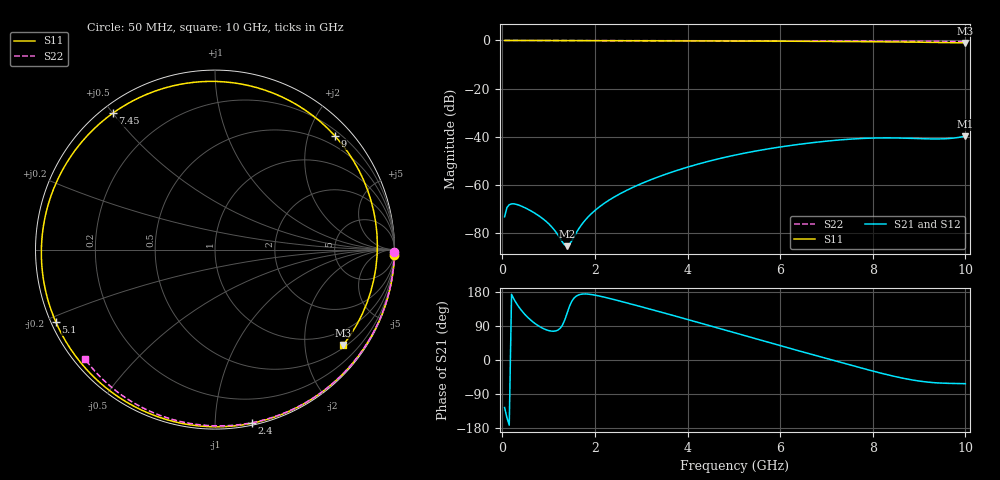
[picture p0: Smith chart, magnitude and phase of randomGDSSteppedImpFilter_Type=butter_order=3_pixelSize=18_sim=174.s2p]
! freq	dB(S11)	phase(S11)	dB(S12)	phase(S12)
!  dB(S21)	phase(S21)	dB(S22)	phase(S22)
!S-par simulation data
#  GHz  S  DB  R 50
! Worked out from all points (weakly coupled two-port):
!   200 points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, 50 MHz to 10 GHz, reference 50 ohm
!   highest |S21| = -39.66 dB at 10 GHz (marker M1); lowest = -85.3 dB at 1.4 GHz (marker M2)
!   lowest |S11| = -1.0 dB at 10 GHz (marker M3), VSWR 17.33, Z = 28.5 - j146 ohm
!   |S11| at or under -10 dB: nowhere
!   |S22| runs from -0.5 to 0.0 dB; largest |S21 - S12| = 0
!   S11 on the Smith chart (normalised r, x): 50 MHz: 0, -67; 2.4 GHz: 0.01, -1.23; 5.1 GHz: 0.01, -0.22; 7.45 GHz: 0.03, +0.50; 9 GHz: 0.30, +2.48; 10 GHz: 0.57, -2.93
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0.05  -0.00 -1.7  -73.06 -125.5  -73.06 -125.5  -0.00 -0.8
0.1  -0.00 -3.4  -69.26 -152.4  -69.26 -152.4  -0.00 -1.6
0.15  -0.00 -5.1  -68.08 -171.8  -68.08 -171.8  -0.00 -2.4
0.3  -0.01 -10.2  -67.90 150.5  -67.90 150.5  -0.01 -4.8
0.8  -0.03 -27.0  -72.81 88.7  -72.81 88.7  -0.01 -12.9
1.2  -0.05 -40.2  -80.56 78.9  -80.56 78.9  -0.02 -19.3
1.4  -0.06 -46.7  -85.25 123.8  -85.25 123.8  -0.03 -22.4
1.6  -0.07 -53.1  -79.62 168.9  -79.62 168.9  -0.03 -25.6
1.75  -0.07 -57.9  -75.40 174.2  -75.40 174.2  -0.04 -27.9
2.4  -0.10 -78.0  -65.07 159.9  -65.07 159.9  -0.05 -38.0
3.4  -0.14 -107.5  -56.31 127.3  -56.31 127.3  -0.07 -53.1
4.2  -0.17 -130.1  -51.39 100.1  -51.39 100.1  -0.09 -64.8
5.05  -0.22 -154.0  -47.41 70.5  -47.41 70.5  -0.12 -76.7
5.1  -0.23 -155.4  -47.21 68.8  -47.21 68.8  -0.12 -77.4
5.95  -0.29 179.6  -44.29 39.5  -44.29 39.5  -0.15 -88.9
6.7  -0.36 155.2  -42.36 14.2  -42.36 14.2  -0.19 -98.8
7.45  -0.45 126.9  -40.98 -11.0  -40.98 -11.0  -0.24 -108.4
8.35  -0.58 83.9  -40.38 -39.9  -40.38 -39.9  -0.31 -119.6
8.7  -0.65 63.3  -40.49 -49.2  -40.49 -49.2  -0.34 -124.0
9  -0.72 43.4  -40.68 -55.5  -40.68 -55.5  -0.37 -127.6
9.55  -0.87 1.7  -40.75 -61.3  -40.75 -61.3  -0.42 -134.4
10  -1.00 -36.6  -39.66 -62.5  -39.66 -62.5  -0.47 -139.9
